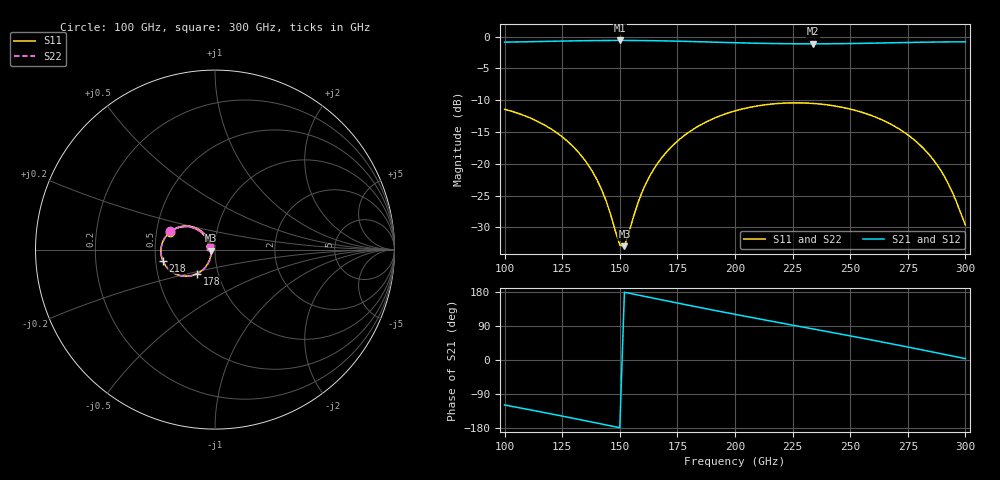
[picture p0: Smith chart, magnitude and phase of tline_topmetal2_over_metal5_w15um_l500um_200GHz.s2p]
#  GHZ S DB R 50
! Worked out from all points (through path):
!   101 points, 100 GHz to 300 GHz, reference 50 ohm
!   highest |S21| = -0.61 dB at 150 GHz (marker M1); lowest = -1.1 dB at 234 GHz (marker M2)
!   group delay of S21, straight-line fit = 3.29 ps
!   lowest |S11| = -32.9 dB at 152 GHz (marker M3), VSWR 1.05, Z = 47.9 - j0.626 ohm
!   |S11| at or under -10 dB: start of sweep to end of sweep
!   |S22| runs from -33.2 to -10.4 dB; largest |S21 - S12| = 1.6e-13
!   S11 on the Smith chart (normalised r, x): 100 GHz: 0.59, +0.13; 178 GHz: 0.79, -0.22; 218 GHz: 0.55, -0.07; 300 GHz: 0.94, +0.02
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100  -11.43 158.0  -0.87 -118.7  -0.87 -118.7  -11.43 157.9
120  -14.48 136.9  -0.75 -142.1  -0.75 -142.1  -14.48 136.8
128  -16.68 129.4  -0.69 -151.7  -0.69 -151.7  -16.69 129.2
134  -19.03 125.0  -0.66 -159.0  -0.66 -159.0  -19.04 124.6
142  -23.96 124.2  -0.62 -168.8  -0.62 -168.8  -23.99 123.6
146  -27.95 132.2  -0.62 -173.8  -0.62 -173.8  -28.04 131.3
150  -32.77 165.7  -0.61 -178.7  -0.61 -178.7  -33.06 165.2
152  -32.94 -163.1  -0.61 178.8  -0.61 178.8  -33.24 -162.4
158  -26.00 -121.1  -0.63 171.3  -0.63 171.3  -26.06 -120.2
160  -24.15 -118.3  -0.63 168.8  -0.63 168.8  -24.19 -117.5
168  -19.14 -118.7  -0.67 158.9  -0.67 158.9  -19.15 -118.3
178  -15.54 -126.7  -0.75 146.7  -0.75 146.7  -15.55 -126.4
188  -13.33 -136.6  -0.85 134.7  -0.85 134.7  -13.33 -136.3
200  -11.68 -149.1  -0.97 120.6  -0.97 120.6  -11.68 -148.9
218  -10.54 -168.1  -1.10 99.9  -1.10 99.9  -10.54 -167.9
234  -10.51 175.3  -1.14 81.8  -1.14 81.8  -10.51 175.4
252  -11.58 156.7  -1.08 61.3  -1.08 61.3  -11.58 156.9
268  -13.84 140.8  -0.98 42.6  -0.98 42.6  -13.84 140.9
278  -16.30 132.1  -0.91 30.6  -0.91 30.6  -16.30 132.2
286  -19.32 127.4  -0.87 20.8  -0.87 20.8  -19.32 127.4
292  -22.71 128.2  -0.84 13.4  -0.84 13.4  -22.72 128.1
300  -29.60 156.6  -0.83 3.5  -0.83 3.5  -29.67 156.5
